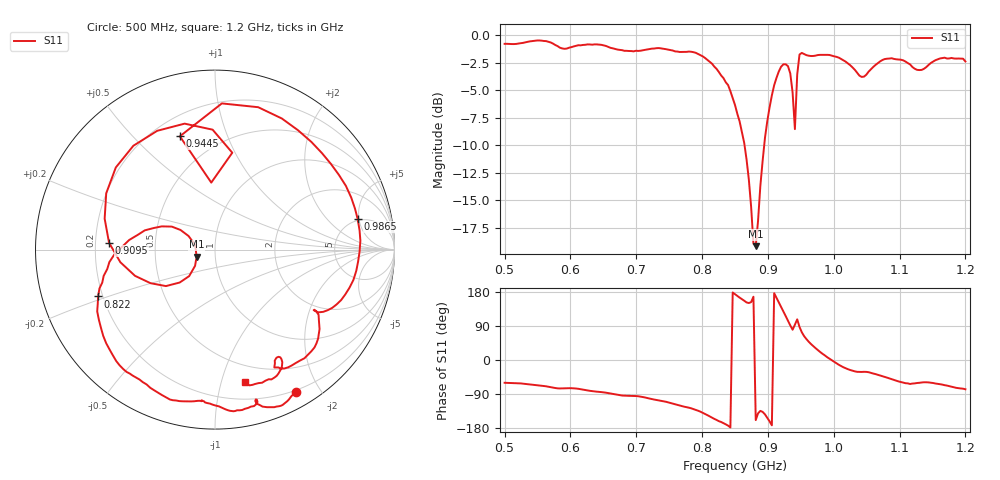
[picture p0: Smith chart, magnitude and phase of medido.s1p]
# HZ S RI R 50
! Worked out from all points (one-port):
!   201 points, 500 MHz to 1.2 GHz, reference 50 ohm
!   lowest |S11| = -19.2 dB at 881.5 MHz (marker M1), VSWR 1.25, Z = 40.6 - j3.29 ohm
!   |S11| at or under -10 dB: 864.5 MHz to 894.4 MHz (29.91 MHz wide, 3.4 % of centre)
!   S11 on the Smith chart (normalised r, x): 500 MHz: 0.18, -1.71; 822 MHz: 0.18, -0.19; 909.5 MHz: 0.26, +0.03; 944.5 MHz: 0.31, +0.69; 986.5 MHz: 4.76, +4.79; 1.2 GHz: 0.34, -1.19
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5e8  0.4536 -0.7906
5.875e8  0.225 -0.8393
6.75e8  -0.0446 -0.8547
7.065e8  -0.0969 -0.8427
7.625e8  -0.4026 -0.7382
7.905e8  -0.5499 -0.6214
8.22e8  -0.6514 -0.2607
8.5e8  -0.4782 0.0536
8.675e8  -0.2411 0.1282
8.78e8  -0.1101 0.0255
8.815e8  -0.1025 -0.0401
8.955e8  -0.2735 -0.2033
9.095e8  -0.5903 0.0383
9.2e8  -0.5526 0.4577
9.27e8  -0.3221 0.6618
9.34e8  -0.0133 0.6682
9.375e8  0.0963 0.5397
9.41e8  -0.0208 0.3733
9.445e8  -0.1958 0.6312
9.48e8  0.0383 0.8145
9.585e8  0.4623 0.6651
9.865e8  0.7948 0.1706
1.025e9  0.653 -0.3247
1.0495e9  0.5638 -0.3437
1.0775e9  0.554 -0.5457
1.1125e9  0.3536 -0.6565
1.151e9  0.3704 -0.6609
1.2e9  0.1682 -0.7394
